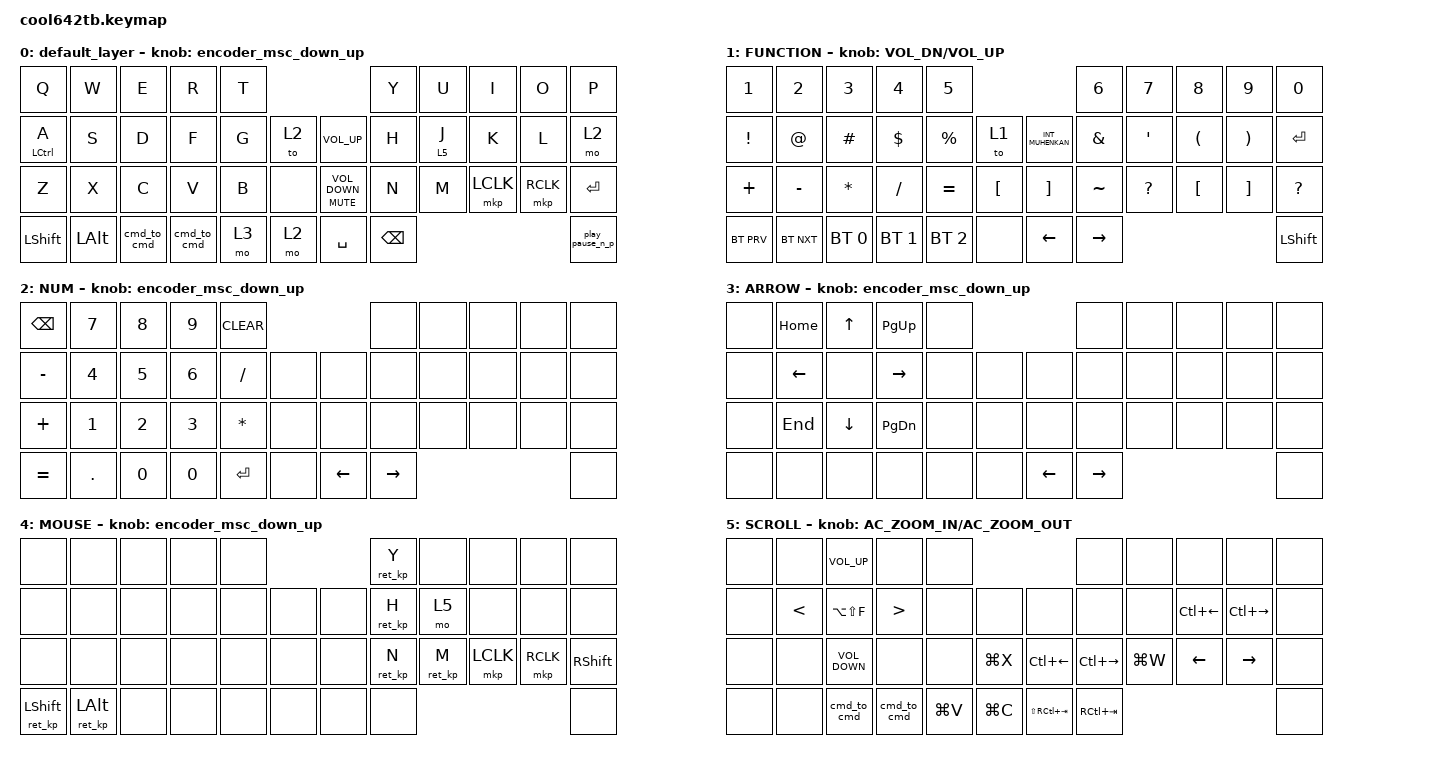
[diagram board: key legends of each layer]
#include <behaviors.dtsi>
#include <dt-bindings/zmk/bt.h>
#include <dt-bindings/zmk/keys.h>
#include <dt-bindings/zmk/pointing.h>

#define MOUSE 4
#define SCROLL 5
#define NUM 6
#define ZMK_POINTING_DEFAULT_SCRL_VAL 80

&mt {
    flavor = "balanced";
    quick-tap-ms = <0>;
};

/ {
    combos {
        compatible = "zmk,combos";

        comb1 {
            bindings = <&kp TAB>;
            key-positions = <10 0>;
        };

        comb2 {
            bindings = <&kp LS(ESCAPE)>;
            key-positions = <0 1>;
        };

        comb3 {
            bindings = <&kp CAPSLOCK>;
            key-positions = <11 10>;
        };

        comb4 {
            bindings = <&kp BACKSPACE>;
            key-positions = <9 8>;
            slow-release;
        };

        comb5 {
            bindings = <&bt BT_CLR_ALL>;
            key-positions = <9 8>;
            timeout-ms = <0>;
            layers = <2>;
        };

        comb6_middleclick {
            bindings = <&mkp MCLK>;
            key-positions = <31 32>;
        };

        comb7minus {
            bindings = <&kp MINUS>;
            key-positions = <7 8>;
        };

        comb8_layer_arrow {
            bindings = <&mo 3>;
            key-positions = <21 20>;
        };

        comb9_layer_function {
            bindings = <&mo 2>;
            key-positions = <19 21 20>;
        };
    };

    macros {
        to_layer_0: to_layer_0 {
            compatible = "zmk,behavior-macro-one-param";
            #binding-cells = <1>;
            bindings = <&to 1 &macro_param_1to1 &kp MACRO_PLACEHOLDER>;
            label = "TO_LAYER_0";
        };

        ret_kp: ret_kp {
            compatible = "zmk,behavior-macro-one-param";
            #binding-cells = <1>;
            bindings =
                <&to 1 &macro_param_1to1>,
                <&macro_press>,
                <&kp MACRO_PLACEHOLDER>,
                <&macro_pause_for_release>,
                <&macro_param_1to1>,
                <&macro_release>,
                <&kp MACRO_PLACEHOLDER>;

            label = "RET_KP";
        };
    };

    behaviors {
        lt_to_layer_0: lt_to_layer_0 {
            compatible = "zmk,behavior-hold-tap";
            label = "LAYER_TAP_TO_0";
            bindings = <&mo>, <&to_layer_0>;

            #binding-cells = <2>;
            tapping-term-ms = <200>;
        };

        encoder_msc_down_up: encoder_msc_down_up {
            compatible = "zmk,behavior-sensor-rotate";
            label = "ENCODER_MSC_DOWN_UP";
            #sensor-binding-cells = <0>;
            bindings = <&msc SCRL_UP>, <&msc SCRL_DOWN>;

            // スクロール方向を逆にしたい場合は <&msc SCRL_DOWN> と <&msc SCRL_UP> を入れ替えてください

            tap-ms = <20>;
        };

        cmd_to_cmd: cmd_to_cmd {
            compatible = "zmk,behavior-tap-dance";
            label = "CMD_TO_CMD";
            #binding-cells = <0>;
            bindings = <&kp LEFT_COMMAND>, <&kp RIGHT_COMMAND>;
        };

        play_pause_n_p: play_pause_n_p {
            compatible = "zmk,behavior-tap-dance";
            label = "PLAY_PAUSE_N_P";
            #binding-cells = <0>;
            bindings = <&kp C_PLAY_PAUSE>, <&kp C_NEXT>, <&kp C_PREVIOUS>;
        };
    };

    keymap {
        compatible = "zmk,keymap";

        default_layer {
            bindings = <
&kp Q               &kp W     &kp E        &kp R        &kp T                                   &kp Y          &kp U    &kp I      &kp O      &kp P
&mt LEFT_CONTROL A  &kp S     &kp D        &kp F        &kp G  &to 2  &kp C_VOLUME_UP           &kp H          &lt 5 J  &kp K      &kp L      &mo 2
&kp Z               &kp X     &kp C        &kp V        &kp B  &none  &mt K_MUTE C_VOLUME_DOWN  &kp N          &kp M    &mkp LCLK  &mkp RCLK  &kp ENTER
&kp LEFT_SHIFT      &kp LALT  &cmd_to_cmd  &cmd_to_cmd  &mo 3  &mo 2  &kp SPACE                 &kp BACKSPACE                                 &play_pause_n_p
            >;

            sensor-bindings = <&encoder_msc_down_up>;
        };

        FUNCTION {
            bindings = <
&kp N1           &kp N2       &kp N3        &kp N4        &kp N5                                             &kp N6           &kp N7        &kp N8                &kp N9                 &kp N0
&kp EXCLAMATION  &kp AT_SIGN  &kp HASH      &kp DOLLAR    &kp PERCENT   &to 1             &kp INT_MUHENKAN   &kp AMPERSAND    &kp SQT       &kp LEFT_PARENTHESIS  &kp RIGHT_PARENTHESIS  &kp ENTER
&kp PLUS         &kp MINUS    &kp ASTERISK  &kp SLASH     &kp EQUAL     &kp LEFT_BRACKET  &kp RIGHT_BRACKET  &kp TILDE        &kp QUESTION  &kp LEFT_BRACKET      &kp RIGHT_BRACKET      &kp QUESTION
&bt BT_PRV       &bt BT_NXT   &bt BT_SEL 0  &bt BT_SEL 1  &bt BT_SEL 2  &none             &kp LEFT_ARROW     &kp RIGHT_ARROW                                                             &kp LEFT_SHIFT
            >;

            sensor-bindings = <&inc_dec_kp C_VOL_DN C_VOL_UP>;
        };

        NUM {
            bindings = <
&kp BACKSPACE  &kp NUMBER_7  &kp NUMBER_8  &kp NUMBER_9  &kp CLEAR                            &none            &none  &none  &none  &none
&kp MINUS      &kp NUMBER_4  &kp NUMBER_5  &kp NUMBER_6  &kp SLASH     &none  &none           &none            &none  &none  &none  &none
&kp PLUS       &kp NUMBER_1  &kp NUMBER_2  &kp NUMBER_3  &kp ASTERISK  &none  &none           &none            &none  &none  &none  &none
&kp EQUAL      &kp PERIOD    &kp NUMBER_0  &kp NUMBER_0  &kp ENTER     &none  &kp LEFT_ARROW  &kp RIGHT_ARROW                       &none
            >;

            sensor-bindings = <&encoder_msc_down_up>;
        };

        ARROW {
            bindings = <
&none  &kp HOME        &kp UP_ARROW    &kp PAGE_UP      &none                         &none            &none  &none  &none  &none
&none  &kp LEFT_ARROW  &none           &kp RIGHT_ARROW  &none  &none  &none           &none            &none  &none  &none  &none
&none  &kp END         &kp DOWN_ARROW  &kp PAGE_DOWN    &none  &none  &none           &none            &none  &none  &none  &none
&none  &none           &none           &none            &none  &none  &kp LEFT_ARROW  &kp RIGHT_ARROW                       &none
            >;

            sensor-bindings = <&encoder_msc_down_up>;
        };

        MOUSE {
            bindings = <
&none               &none             &none  &none  &none                &ret_kp Y  &none      &none      &none      &none
&none               &none             &none  &none  &none  &none  &none  &ret_kp H  &mo 5      &none      &none      &none
&none               &none             &none  &none  &none  &none  &none  &ret_kp N  &ret_kp M  &mkp LCLK  &mkp RCLK  &kp RIGHT_SHIFT
&ret_kp LEFT_SHIFT  &ret_kp LEFT_ALT  &none  &none  &none  &none  &none  &none                                       &none
            >;

            sensor-bindings = <&encoder_msc_down_up>;
        };

        SCROLL {
            bindings = <
&none  &none          &kp C_VOLUME_UP    &none             &none                                     &none                &none      &none               &none                &none
&none  &kp LESS_THAN  &kp LA(LS(F))      &kp GREATER_THAN  &none      &none      &none               &none                &none      &kp LC(LEFT_ARROW)  &kp LC(RIGHT_ARROW)  &none
&none  &none          &kp C_VOLUME_DOWN  &none             &none      &kp LG(X)  &kp LC(LEFT_ARROW)  &kp LC(RIGHT_ARROW)  &kp LG(W)  &kp LEFT_ARROW      &kp RIGHT_ARROW      &none
&none  &none          &cmd_to_cmd        &cmd_to_cmd       &kp LG(V)  &kp LG(C)  &kp LS(RC(TAB))     &kp RC(TAB)                                                              &none
            >;

            sensor-bindings = <&inc_dec_kp C_AC_ZOOM_IN C_AC_ZOOM_OUT>;
        };
    };
};
